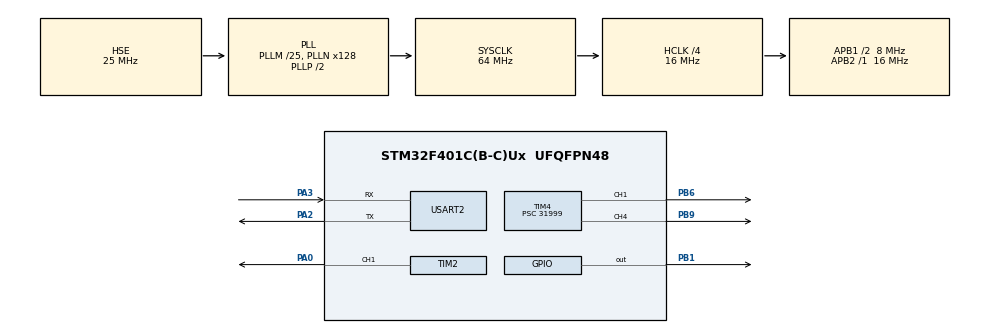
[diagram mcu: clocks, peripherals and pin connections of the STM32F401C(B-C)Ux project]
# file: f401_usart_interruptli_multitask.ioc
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Mcu.Family=STM32F4
Mcu.Name=STM32F401C(B-C)Ux
Mcu.Package=UFQFPN48
NVIC.PriorityGroup=NVIC_PRIORITYGROUP_4
NVIC.TIM2_IRQn=true\:0\:0\:false\:true\:true\:3\:true\:true
NVIC.TIM4_IRQn=true\:0\:0\:false\:true\:true\:2\:true\:true
NVIC.USART2_IRQn=true\:0\:0\:false\:true\:true\:1\:true\:true
PA0-WKUP.Signal=S_TIM2_CH1_ETR
PA13.Mode=Serial_Wire
PA13.Signal=SYS_JTMS-SWDIO
PA14.Mode=Serial_Wire
PA14.Signal=SYS_JTCK-SWCLK
PA2.Mode=Asynchronous
PA2.Signal=USART2_TX
PA3.Mode=Asynchronous
PA3.Signal=USART2_RX
PB1.Signal=GPIO_Output
PB6.Signal=S_TIM4_CH1
PB9.Signal=S_TIM4_CH4
PH0\ -\ OSC_IN.Mode=HSE-External-Oscillator
PH0\ -\ OSC_IN.Signal=RCC_OSC_IN
PH1\ -\ OSC_OUT.Mode=HSE-External-Oscillator
PH1\ -\ OSC_OUT.Signal=RCC_OSC_OUT
ProjectManager.HeapSize=0x200
ProjectManager.StackSize=0x400
ProjectManager.TargetToolchain=STM32CubeIDE
RCC.48MHZClocksFreq_Value=32000000
RCC.AHBCLKDivider=RCC_SYSCLK_DIV4
RCC.AHBFreq_Value=16000000
RCC.APB1CLKDivider=RCC_HCLK_DIV2
RCC.APB1Freq_Value=8000000
RCC.APB1TimFreq_Value=16000000
RCC.APB2Freq_Value=16000000
RCC.APB2TimFreq_Value=16000000
RCC.CortexFreq_Value=16000000
RCC.HCLKFreq_Value=16000000
RCC.HSE_VALUE=25000000
RCC.HSI_VALUE=16000000
RCC.LSE_VALUE=32768
RCC.PLLM=25
RCC.PLLN=128
RCC.PLLSourceVirtual=RCC_PLLSOURCE_HSE
RCC.SYSCLKFreq_VALUE=64000000
RCC.SYSCLKSource=RCC_SYSCLKSOURCE_PLLCLK
RCC.VCOOutputFreq_Value=128000000
SH.S_TIM2_CH1_ETR.0=TIM2_CH1,PWM Generation1 CH1
SH.S_TIM4_CH1.0=TIM4_CH1,PWM Generation1 CH1
SH.S_TIM4_CH4.0=TIM4_CH4,PWM Generation4 CH4
TIM2.Channel-PWM\ Generation1\ CH1=TIM_CHANNEL_1
TIM2.Period=83999
TIM2.Prescaler=999
TIM2.Pulse-PWM\ Generation1\ CH1=41999
TIM4.Channel-PWM\ Generation1\ CH1=TIM_CHANNEL_1
TIM4.Channel-PWM\ Generation4\ CH4=TIM_CHANNEL_4
TIM4.Period=999
TIM4.Prescaler=31999
TIM4.Pulse-PWM\ Generation4\ CH4=500
USART2.VirtualMode=VM_ASYNC
VP_TIM2_VS_ClockSourceINT.Mode=Internal
VP_TIM4_VS_ClockSourceINT.Mode=Internal
board=custom

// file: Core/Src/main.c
/* USER CODE BEGIN Header */
/**
  ******************************************************************************
  * @file           : main.c
  * @brief          : Main program body
  ******************************************************************************
  * @attention
  *
  * Copyright (c) 2022 STMicroelectronics.
  * All rights reserved.
  *
  * This software is licensed under terms that can be found in the LICENSE file
  * in the root directory of this software component.
  * If no LICENSE file comes with this software, it is provided AS-IS.
  *
  ******************************************************************************
  */
/* USER CODE END Header */
#include "main.h"

/* USER CODE BEGIN Includes */
extern uint8_t Rx_Byte[1];
extern uint8_t Rx_Data[5];
extern uint8_t Rx_DataCnt;
extern uint8_t Rx_Flag;

/* USER CODE END Includes */

TIM_HandleTypeDef htim2;
TIM_HandleTypeDef htim4;

UART_HandleTypeDef huart2;

void SystemClock_Config(void);
static void MX_GPIO_Init(void);
static void MX_USART2_UART_Init(void);
static void MX_TIM4_Init(void);
static void MX_TIM2_Init(void);
static void MX_NVIC_Init(void);

int main(void)
{

  /* MCU Configuration--------------------------------------------------------*/

  /* Reset of all peripherals, Initializes the Flash interface and the Systick. */
  HAL_Init();

  /* Configure the system clock */
  SystemClock_Config();

  /* Initialize all configured peripherals */
  MX_GPIO_Init();
  MX_USART2_UART_Init();
  MX_TIM4_Init();
  MX_TIM2_Init();

  /* Initialize interrupts */
  MX_NVIC_Init();
  /* USER CODE BEGIN 2 */

  //interruptli uart Rx i aktif ettik
  __HAL_UART_ENABLE_IT(&huart2,UART_IT_RXNE);

  /* USER CODE END 2 */

  /* Infinite loop */
  while (1)
  {
	/* USER CODE BEGIN 3 */

	  birinci_task();  //300ms on - 700ms off

	  // STOP -----> stopp

	  if(Rx_Flag &&
			  Rx_Data[0]=='s'&&
			  Rx_Data[1]=='t'&&
			  Rx_Data[2]=='o'&&
			  Rx_Data[3]=='p'&&
			  Rx_Data[4]=='p')
	  {
		  HAL_UART_Transmit(&huart2,Rx_Data,5,100);
	  	  TIM4 -> CCR4 = 0; //

	  }

	  //START ----> start

	  if(Rx_Flag &&
			  Rx_Data[0]=='s'&&
			  Rx_Data[1]=='t'&&
			  Rx_Data[2]=='a'&&
			  Rx_Data[3]=='r'&&
			  Rx_Data[4]=='t')
	  {
		  HAL_UART_Transmit(&huart2,Rx_Data,5,100);
  	  	  TIM4 -> CCR4 = 300; //
  		  //birinci_task();  //300ms on - 700ms off

	  }

	  //LED ON ---> L=500

	  	  if(Rx_Flag &&
	  			  Rx_Data[0]=='l'&&
	  			  Rx_Data[1]=='='&&
	  			  Rx_Data[2]=='1'&&
	  			  Rx_Data[3]=='0'&&
	  			  Rx_Data[4]=='0')
	  	  {
	  		  HAL_UART_Transmit(&huart2,Rx_Data,5,100);
	  	  	  TIM4 -> CCR4 = 100; //

	  	  }

	  Rx_Flag=0;

  }
  /* USER CODE END 3 */
}

void birinci_task(){

	  HAL_TIM_PWM_Start_IT(&htim4, TIM_CHANNEL_4);
}

void SystemClock_Config(void)
{
  RCC_OscInitTypeDef RCC_OscInitStruct = {0};
  RCC_ClkInitTypeDef RCC_ClkInitStruct = {0};

  /** Configure the main internal regulator output voltage
  */
  __HAL_RCC_PWR_CLK_ENABLE();
  __HAL_PWR_VOLTAGESCALING_CONFIG(PWR_REGULATOR_VOLTAGE_SCALE2);
  /** Initializes the RCC Oscillators according to the specified parameters
  * in the RCC_OscInitTypeDef structure.
  */
  RCC_OscInitStruct.OscillatorType = RCC_OSCILLATORTYPE_HSE;
  RCC_OscInitStruct.HSEState = RCC_HSE_ON;
  RCC_OscInitStruct.PLL.PLLState = RCC_PLL_ON;
  RCC_OscInitStruct.PLL.PLLSource = RCC_PLLSOURCE_HSE;
  RCC_OscInitStruct.PLL.PLLM = 25;
  RCC_OscInitStruct.PLL.PLLN = 128;
  RCC_OscInitStruct.PLL.PLLP = RCC_PLLP_DIV2;
  RCC_OscInitStruct.PLL.PLLQ = 4;
  if (HAL_RCC_OscConfig(&RCC_OscInitStruct) != HAL_OK)
  {
    Error_Handler();
  }
  /** Initializes the CPU, AHB and APB buses clocks
  */
  RCC_ClkInitStruct.ClockType = RCC_CLOCKTYPE_HCLK|RCC_CLOCKTYPE_SYSCLK
                              |RCC_CLOCKTYPE_PCLK1|RCC_CLOCKTYPE_PCLK2;
  RCC_ClkInitStruct.SYSCLKSource = RCC_SYSCLKSOURCE_PLLCLK;
  RCC_ClkInitStruct.AHBCLKDivider = RCC_SYSCLK_DIV4;
  RCC_ClkInitStruct.APB1CLKDivider = RCC_HCLK_DIV2;
  RCC_ClkInitStruct.APB2CLKDivider = RCC_HCLK_DIV1;

  if (HAL_RCC_ClockConfig(&RCC_ClkInitStruct, FLASH_LATENCY_0) != HAL_OK)
  {
    Error_Handler();
  }
}

/**
  * @brief NVIC Configuration.
  * @retval None
  */
static void MX_NVIC_Init(void)
{
  /* USART2_IRQn interrupt configuration */
  HAL_NVIC_SetPriority(USART2_IRQn, 0, 0);
  HAL_NVIC_EnableIRQ(USART2_IRQn);
  /* TIM4_IRQn interrupt configuration */
  HAL_NVIC_SetPriority(TIM4_IRQn, 0, 0);
  HAL_NVIC_EnableIRQ(TIM4_IRQn);
  /* TIM2_IRQn interrupt configuration */
  HAL_NVIC_SetPriority(TIM2_IRQn, 0, 0);
  HAL_NVIC_EnableIRQ(TIM2_IRQn);
}

static void MX_TIM2_Init(void)
{

  TIM_ClockConfigTypeDef sClockSourceConfig = {0};
  TIM_MasterConfigTypeDef sMasterConfig = {0};
  TIM_OC_InitTypeDef sConfigOC = {0};

  htim2.Instance = TIM2;
  htim2.Init.Prescaler = 999;
  htim2.Init.CounterMode = TIM_COUNTERMODE_UP;
  htim2.Init.Period = 83999;
  htim2.Init.ClockDivision = TIM_CLOCKDIVISION_DIV1;
  htim2.Init.AutoReloadPreload = TIM_AUTORELOAD_PRELOAD_DISABLE;
  if (HAL_TIM_Base_Init(&htim2) != HAL_OK)
  {
    Error_Handler();
  }
  sClockSourceConfig.ClockSource = TIM_CLOCKSOURCE_INTERNAL;
  if (HAL_TIM_ConfigClockSource(&htim2, &sClockSourceConfig) != HAL_OK)
  {
    Error_Handler();
  }
  if (HAL_TIM_PWM_Init(&htim2) != HAL_OK)
  {
    Error_Handler();
  }
  sMasterConfig.MasterOutputTrigger = TIM_TRGO_RESET;
  sMasterConfig.MasterSlaveMode = TIM_MASTERSLAVEMODE_DISABLE;
  if (HAL_TIMEx_MasterConfigSynchronization(&htim2, &sMasterConfig) != HAL_OK)
  {
    Error_Handler();
  }
  sConfigOC.OCMode = TIM_OCMODE_PWM1;
  sConfigOC.Pulse = 41999;
  sConfigOC.OCPolarity = TIM_OCPOLARITY_HIGH;
  sConfigOC.OCFastMode = TIM_OCFAST_DISABLE;
  if (HAL_TIM_PWM_ConfigChannel(&htim2, &sConfigOC, TIM_CHANNEL_1) != HAL_OK)
  {
    Error_Handler();
  }
  HAL_TIM_MspPostInit(&htim2);

}

static void MX_TIM4_Init(void)
{

  TIM_ClockConfigTypeDef sClockSourceConfig = {0};
  TIM_MasterConfigTypeDef sMasterConfig = {0};
  TIM_OC_InitTypeDef sConfigOC = {0};

  htim4.Instance = TIM4;
  htim4.Init.Prescaler = 31999;
  htim4.Init.CounterMode = TIM_COUNTERMODE_UP;
  htim4.Init.Period = 999;
  htim4.Init.ClockDivision = TIM_CLOCKDIVISION_DIV1;
  htim4.Init.AutoReloadPreload = TIM_AUTORELOAD_PRELOAD_DISABLE;
  if (HAL_TIM_Base_Init(&htim4) != HAL_OK)
  {
    Error_Handler();
  }
  sClockSourceConfig.ClockSource = TIM_CLOCKSOURCE_INTERNAL;
  if (HAL_TIM_ConfigClockSource(&htim4, &sClockSourceConfig) != HAL_OK)
  {
    Error_Handler();
  }
  if (HAL_TIM_PWM_Init(&htim4) != HAL_OK)
  {
    Error_Handler();
  }
  sMasterConfig.MasterOutputTrigger = TIM_TRGO_RESET;
  sMasterConfig.MasterSlaveMode = TIM_MASTERSLAVEMODE_DISABLE;
  if (HAL_TIMEx_MasterConfigSynchronization(&htim4, &sMasterConfig) != HAL_OK)
  {
    Error_Handler();
  }
  sConfigOC.OCMode = TIM_OCMODE_PWM1;
  sConfigOC.Pulse = 0;
  sConfigOC.OCPolarity = TIM_OCPOLARITY_HIGH;
  sConfigOC.OCFastMode = TIM_OCFAST_DISABLE;
  if (HAL_TIM_PWM_ConfigChannel(&htim4, &sConfigOC, TIM_CHANNEL_1) != HAL_OK)
  {
    Error_Handler();
  }
  sConfigOC.Pulse = 300;
  if (HAL_TIM_PWM_ConfigChannel(&htim4, &sConfigOC, TIM_CHANNEL_4) != HAL_OK)
  {
    Error_Handler();
  }
  HAL_TIM_MspPostInit(&htim4);

}

static void MX_USART2_UART_Init(void)
{

  huart2.Instance = USART2;
  huart2.Init.BaudRate = 115200;
  huart2.Init.WordLength = UART_WORDLENGTH_8B;
  huart2.Init.StopBits = UART_STOPBITS_1;
  huart2.Init.Parity = UART_PARITY_NONE;
  huart2.Init.Mode = UART_MODE_TX_RX;
  huart2.Init.HwFlowCtl = UART_HWCONTROL_NONE;
  huart2.Init.OverSampling = UART_OVERSAMPLING_16;
  if (HAL_UART_Init(&huart2) != HAL_OK)
  {
    Error_Handler();
  }

}

static void MX_GPIO_Init(void)
{
  GPIO_InitTypeDef GPIO_InitStruct = {0};

  /* GPIO Ports Clock Enable */
  __HAL_RCC_GPIOH_CLK_ENABLE();
  __HAL_RCC_GPIOA_CLK_ENABLE();
  __HAL_RCC_GPIOB_CLK_ENABLE();

  /*Configure GPIO pin Output Level */
  HAL_GPIO_WritePin(GPIOB, GPIO_PIN_1, GPIO_PIN_RESET);

  /*Configure GPIO pin : PB1 */
  GPIO_InitStruct.Pin = GPIO_PIN_1;
  GPIO_InitStruct.Mode = GPIO_MODE_OUTPUT_PP;
  GPIO_InitStruct.Pull = GPIO_NOPULL;
  GPIO_InitStruct.Speed = GPIO_SPEED_FREQ_LOW;
  HAL_GPIO_Init(GPIOB, &GPIO_InitStruct);

}

void Error_Handler(void)
{
  __disable_irq();
  while (1)
  {
  }
}
